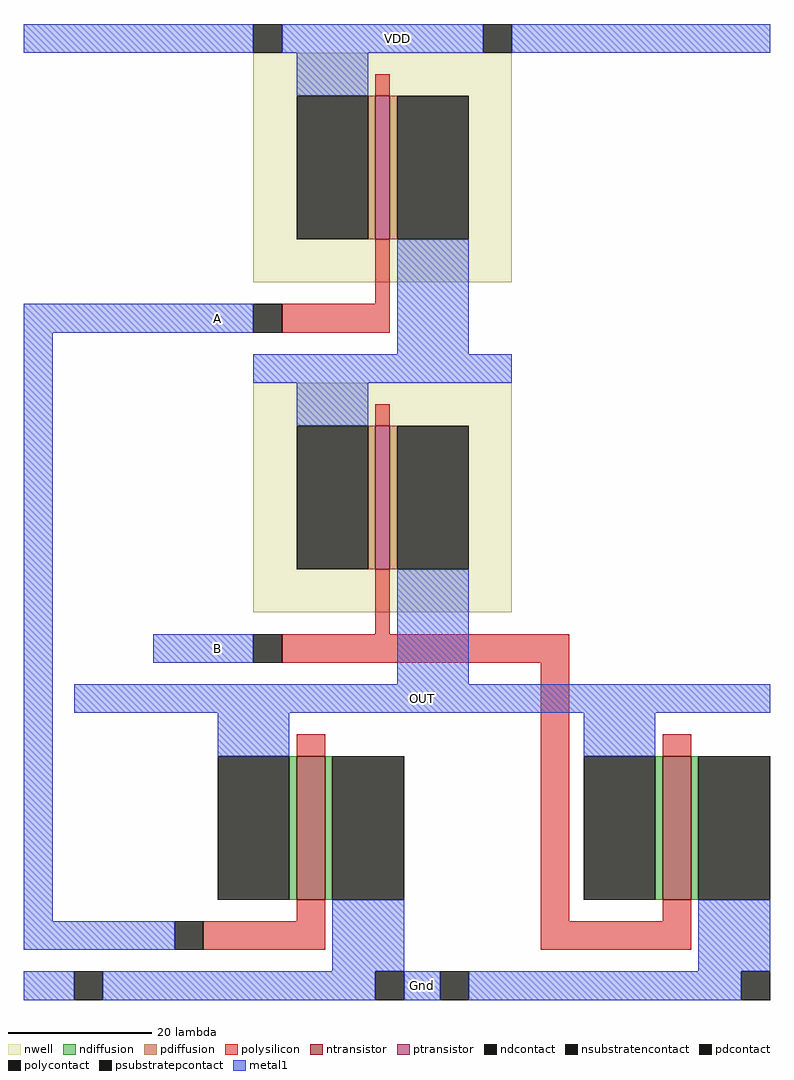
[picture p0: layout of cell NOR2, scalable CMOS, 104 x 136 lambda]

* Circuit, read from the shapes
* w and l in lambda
.subckt NOR2 A B Gnd OUT VDD
M1 Gnd A OUT Gnd nfet w=20 l=4
M2 Gnd B OUT Gnd nfet w=20 l=4
M3 OUT B n1 n2 pfet w=20 l=2
M4 n1 A VDD n3 pfet w=20 l=2
.ends

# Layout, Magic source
magic
tech scmos
<< nwell >>
rect 13 -10 49 22
rect 13 -56 49 -24
<< ntransistor >>
rect 19 -96 23 -76
rect 70 -96 74 -76
<< ptransistor >>
rect 30 -4 32 16
rect 30 -50 32 -30
<< ndiffusion >>
rect 18 -96 19 -76
rect 23 -96 24 -76
rect 69 -96 70 -76
rect 74 -96 75 -76
<< pdiffusion >>
rect 29 -4 30 16
rect 32 -4 33 16
rect 29 -50 30 -30
rect 32 -50 33 -30
<< ndcontact >>
rect 8 -96 18 -76
rect 24 -96 34 -76
rect 59 -96 69 -76
rect 75 -96 85 -76
<< pdcontact >>
rect 19 -4 29 16
rect 33 -4 43 16
rect 19 -50 29 -30
rect 33 -50 43 -30
<< psubstratepcontact >>
rect -12 -110 -8 -106
rect 30 -110 34 -106
rect 39 -110 43 -106
rect 81 -110 85 -106
<< nsubstratencontact >>
rect 13 22 17 26
rect 45 22 49 26
<< polysilicon >>
rect 30 16 32 19
rect 30 -13 32 -4
rect 17 -17 32 -13
rect 30 -30 32 -27
rect 30 -59 32 -50
rect 17 -63 57 -59
rect 19 -76 23 -73
rect 19 -99 23 -96
rect 6 -103 23 -99
rect 53 -99 57 -63
rect 70 -76 74 -73
rect 70 -99 74 -96
rect 53 -103 74 -99
<< polycontact >>
rect 13 -17 17 -13
rect 13 -63 17 -59
rect 2 -103 6 -99
<< metal1 >>
rect -19 22 13 26
rect 17 22 45 26
rect 49 22 85 26
rect 19 16 29 22
rect -19 -17 13 -13
rect -19 -99 -15 -17
rect 33 -20 43 -4
rect 13 -24 49 -20
rect 19 -30 29 -24
rect -1 -63 13 -59
rect 33 -66 43 -50
rect -12 -70 85 -66
rect 8 -76 18 -70
rect 59 -76 69 -70
rect -19 -103 2 -99
rect 24 -106 34 -96
rect 75 -106 85 -96
rect -19 -110 -12 -106
rect -8 -110 30 -106
rect 34 -110 39 -106
rect 43 -110 81 -106
<< labels >>
rlabel metal1 -1 -17 17 -13 1 A
rlabel metal1 -1 -63 17 -59 1 B
rlabel metal1 -12 -110 85 -106 1 Gnd
rlabel metal1 -12 -70 85 -66 1 OUT
rlabel metal1 -19 22 85 26 5 VDD
<< end >>
